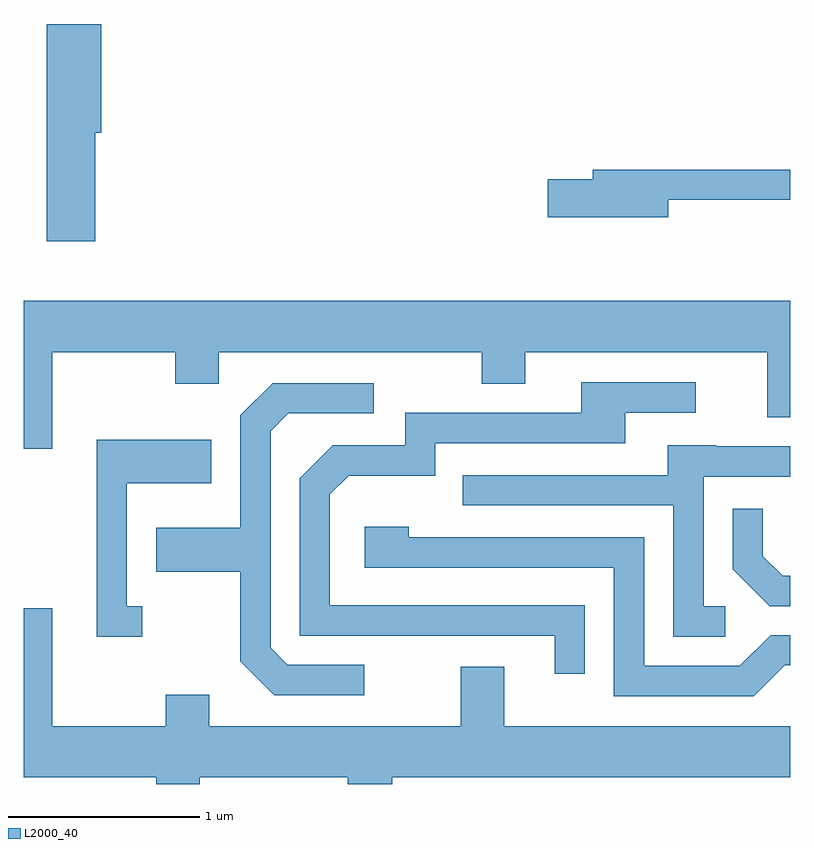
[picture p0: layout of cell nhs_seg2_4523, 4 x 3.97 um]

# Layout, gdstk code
import gdstk
lib = gdstk.Library(unit=1e-6, precision=1e-09)
def P(c, l, *ps):  # polygons
    for p in ps: c.add(gdstk.Polygon(p, *l))
L2000_40 = (2000, 40)

nhs_seg2_4523 = lib.new_cell('nhs_seg2_4523')
P(nhs_seg2_4523, L2000_40, [(317.984,1087.201),(318.014,1087.201),(318.014,1087.769),(317.731,1087.769),(317.731,1086.636),(317.984,1086.636)],
  [(320.974,1086.851),(321.611,1086.851),(321.611,1087.009),(320.581,1087.009),(320.581,1086.959),(320.346,1086.959),(320.346,1086.761),(320.974,1086.761)],
  [(317.759,1086.056),(318.401,1086.056),(318.401,1085.891),(318.629,1085.891),(318.629,1086.056),(320.001,1086.056),(320.001,1085.891),(320.229,1085.891),(320.229,1086.056),(321.491,1086.056),(321.491,1085.716),(321.611,1085.716),(321.611,1086.324),(317.611,1086.324),(317.611,1085.551),(317.759,1085.551)],
  [(320.539,1084.734),(319.209,1084.734),(319.209,1085.314),(319.307,1085.411),(319.759,1085.411),(319.759,1085.581),(320.749,1085.581),(320.749,1085.741),(321.118,1085.741),(321.118,1085.899),(320.521,1085.899),(320.521,1085.739),(319.601,1085.739),(319.601,1085.569),(319.224,1085.569),(319.051,1085.397),(319.051,1084.576),(320.381,1084.576),(320.381,1084.378),(320.539,1084.378)],
  [(319.388,1084.424),(318.987,1084.424),(318.899,1084.512),(318.899,1085.644),(318.992,1085.736),(319.438,1085.736),(319.438,1085.894),(318.909,1085.894),(318.741,1085.727),(318.741,1085.139),(318.301,1085.139),(318.301,1084.911),(318.741,1084.911),(318.741,1084.444),(318.919,1084.266),(319.388,1084.266)],
  [(318.228,1084.729),(318.149,1084.729),(318.149,1085.371),(318.589,1085.371),(318.589,1085.599),(317.991,1085.599),(317.991,1084.571),(318.228,1084.571)],
  [(321.273,1084.729),(321.159,1084.729),(321.159,1085.406),(321.611,1085.406),(321.611,1085.564),(321.225,1085.564),(321.225,1085.569),(320.971,1085.569),(320.971,1085.414),(319.903,1085.414),(319.903,1085.256),(321.001,1085.256),(321.001,1084.571),(321.273,1084.571)],
  [(321.611,1084.889),(321.572,1084.889),(321.469,1084.992),(321.469,1085.238),(321.311,1085.238),(321.311,1084.924),(321.504,1084.731),(321.611,1084.731)],
  [(321.582,1084.421),(321.611,1084.421),(321.611,1084.579),(321.509,1084.579),(321.349,1084.419),(320.849,1084.419),(320.849,1085.089),(319.619,1085.089),(319.619,1085.144),(319.391,1085.144),(319.391,1084.931),(320.691,1084.931),(320.691,1084.261),(321.422,1084.261)],
  [(318.529,1083.836),(319.301,1083.836),(319.301,1083.802),(319.534,1083.802),(319.534,1083.836),(321.611,1083.836),(321.611,1084.104),(320.119,1084.104),(320.119,1084.414),(319.891,1084.414),(319.891,1084.104),(318.579,1084.104),(318.579,1084.269),(318.351,1084.269),(318.351,1084.104),(317.759,1084.104),(317.759,1084.719),(317.611,1084.719),(317.611,1083.836),(318.301,1083.836),(318.301,1083.802),(318.529,1083.802)])

lib.write_gds('nhs_seg2_4523.gds')
